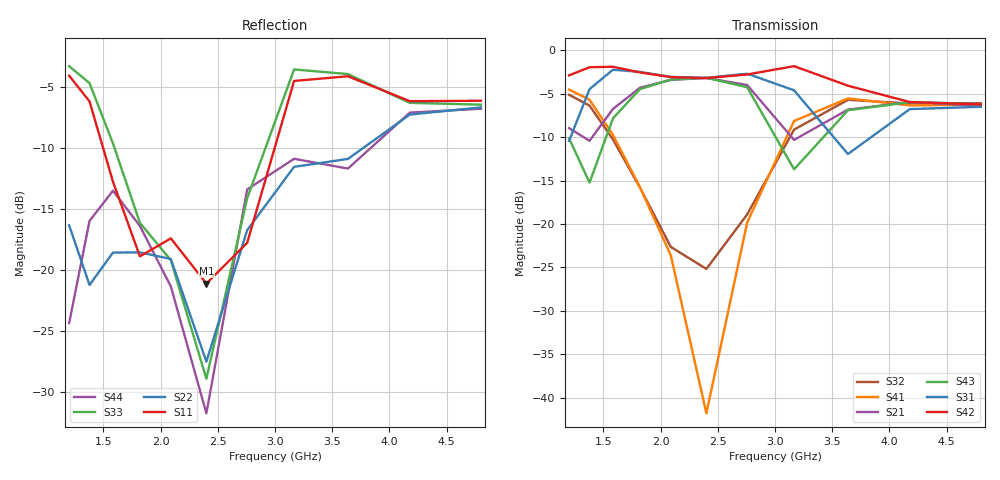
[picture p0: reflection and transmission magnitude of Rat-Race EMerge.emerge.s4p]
! Generated by circuitRF - EM: EMerge
! circuitRF-EM setup: Rat-Race EMerge
! circuitRF-EM layout: Rat-Race.c3d
! circuitRF-EM written: 2026-11-15 22:39:56Z
! circuitRF-EM stamp: 20261115T223956Z-5fc09960
! circuitRF-EM geometry: afcf28f2c038d06a
! circuitRF-EM mesh settings: 052857159ca3006f
! circuitRF-EM ports: 02a938ecda0cf30f
! circuitRF-EM model: EMerge 3.0.0
! Port[1] = P1
! Port[2] = P2
! Port[3] = P3
! Port[4] = P4
! circuitRF-EM port 1: 'port/1' from 'U1/Bottom Copper (1 oz)/1' to 'U1/Top Copper (1 oz)/1', lumped, 50 Ohm
! circuitRF-EM port 2: 'port/2' from 'U1/Bottom Copper (1 oz)/1' to 'U1/Top Copper (1 oz)/1', lumped, 50 Ohm
! circuitRF-EM port 3: 'port/3' from 'U1/Bottom Copper (1 oz)/1' to 'U1/Top Copper (1 oz)/1', lumped, 50 Ohm
! circuitRF-EM port 4: 'port/4' from 'U1/Bottom Copper (1 oz)/1' to 'U1/Top Copper (1 oz)/1', lumped, 50 Ohm
! Port 1 = P01  P1  net=?  ref=U1/Bottom Copper (1 oz)/1  uncalibrated
! Port 2 = P02  P2  net=?  ref=U1/Bottom Copper (1 oz)/1  uncalibrated
! Port 3 = P03  P3  net=?  ref=U1/Bottom Copper (1 oz)/1  uncalibrated
! Port 4 = P04  P4  net=?  ref=U1/Bottom Copper (1 oz)/1  uncalibrated
! DC: none, the lowest row is 1.2 GHz; a circuit's DC solve through this file takes that row as DC
! circuitRF-EM 3D mesh: 14325 tetrahedra, element order 2
! circuitRF-EM 3D operating temperature: 20 C
! circuitRF-EM 3D run: preset Draft; 14325 tetrahedra; 102774 unknowns; adaptive sweep, 15 frequency sample(s), estimated error 0.000473
! circuitRF-EM 3D run cost: wall 92 s; EMerge peak memory 2.1 GB
! circuitRF-EM: re-running the EM setup rewrites this file. If circuitRF reports it as stale, the layout's cross-section changed after this file was written.
# GHz S RI R 50
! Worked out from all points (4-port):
!   11 points, 1.2 GHz to 4.8 GHz, reference 50 ohm
!   strongest paths, dB at 1.2 GHz, 1.583 GHz, 2.4 GHz, 3.638 GHz, 4.8 GHz:
!     S42: -2.9, -1.9, -3.2, -4.1, -6.2
!     S31: -10.4, -2.2, -3.2, -11.9, -6.5
!     S43: -10.1, -7.8, -3.1, -6.9, -6.2
!     S21: -9.0, -6.7, -3.2, -6.8, -6.4
!     S41: -4.5, -9.7, -41.8, -5.5, -6.2
!     S32: -5.1, -10.3, -25.2, -5.7, -6.1
!   lowest |S11| = -21.1 dB at 2.4 GHz (marker M1), VSWR 1.19, Z = 46.4 + j7.71 ohm
!   |S11| at or under -10 dB: 1.498 GHz to 2.997 GHz (1.499 GHz wide, 66.7 % of centre)
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1.2  0.0783 0.621  0.0493 -0.3534  0.2807 -0.1096  -0.589 -0.0836
     0.0493 -0.3534  0.0118 0.1523  -0.5383 -0.1365  -0.6424 -0.3214
     0.2807 -0.1096  -0.5383 -0.1365  0.1104 0.6755  -0.0486 -0.3077
     -0.589 -0.0836  -0.6424 -0.3214  -0.0486 -0.3077  -0.0139 0.059
1.81886  -0.0656 -0.0931  -0.0635 -0.6061  -0.208 -0.7232  0.0508 0.1553
         -0.0635 -0.6061  -0.087 0.08  -0.0105 0.162  -0.1446 0.7329
         -0.2082 -0.7231  -0.0104 0.162  -0.0203 -0.1549  -0.00948 -0.5982
         0.0509 0.1553  -0.1446 0.7329  -0.00933 -0.5982  -0.0619 0.1385
2.4  -0.031 0.0825  -0.637 -0.2749  -0.6344 -0.2835  -0.00767 -0.00271
     -0.637 -0.2749  -0.0269 0.0325  -0.0346 0.043  0.6503 0.2393
     -0.6345 -0.2833  -0.0346 0.043  -0.0111 0.0342  -0.65 -0.2483
     -0.00766 -0.0027  0.6503 0.2393  -0.6499 -0.2485  -0.0191 -0.0176
2.756876  0.0538 -0.1177  -0.6083 0.1707  -0.7264 0.1118  -0.1015 0.0113
          -0.6083 0.1707  -0.1162 -0.0881  -0.0809 0.0798  0.6313 -0.3609
          -0.7264 0.1122  -0.0809 0.0798  0.0565 -0.1888  -0.567 0.2348
          -0.1015 0.0113  0.6313 -0.3609  -0.567 0.2345  -0.1867 -0.1047
3.166819  -0.4941 -0.3323  -0.1946 0.2353  -0.2188 0.547  -0.1474 0.3637
          -0.1946 0.2353  -0.255 0.0715  -0.0677 0.3432  -0.0866 -0.807
          -0.2185 0.5471  -0.0675 0.3432  -0.5491 -0.3727  -0.1011 0.1803
          -0.1473 0.3637  -0.0866 -0.807  -0.1012 0.1803  -0.2338 0.1644
3.63772  -0.4514 0.4285  -0.3449 0.2987  -0.179 0.179  0.517 0.1115
         -0.3449 0.2987  -0.2696 0.094  0.5119 0.0888  -0.6233 -0.0622
         -0.1789 0.1791  0.5119 0.0885  -0.4695 0.428  -0.3647 0.2675
         0.517 0.1114  -0.6233 -0.0621  -0.3648 0.2673  -0.2529 0.0631
4.8  0.25 0.4262  0.2992 0.3751  0.3092 0.3585  -0.38 -0.3046
     0.2993 0.3751  0.269 0.3779  -0.3891 -0.3082  0.353 0.3381
     0.3095 0.3582  -0.3893 -0.3079  0.2599 0.3991  0.3244 0.3697
     -0.38 -0.3046  0.353 0.3381  0.3241 0.3699  0.2771 0.3649
